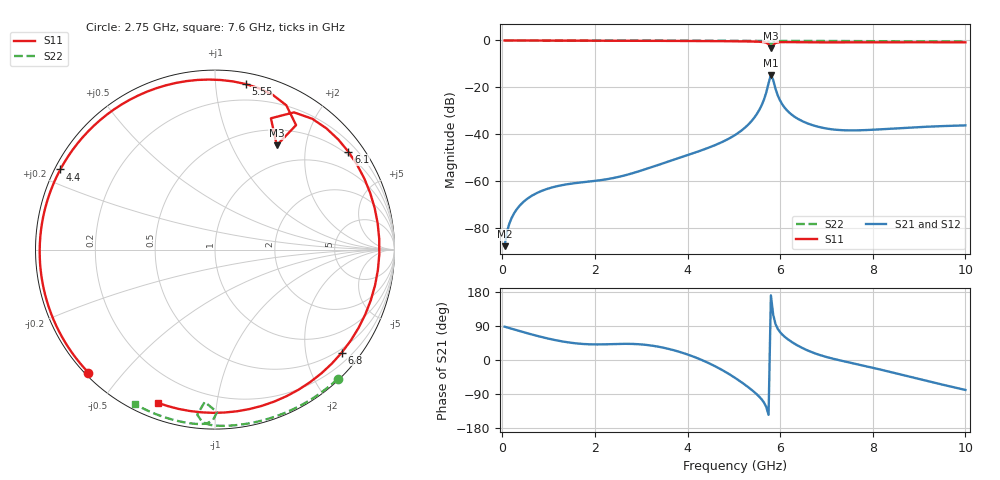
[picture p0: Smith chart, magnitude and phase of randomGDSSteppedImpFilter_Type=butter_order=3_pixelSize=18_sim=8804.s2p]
! freq	dB(S11)	phase(S11)	dB(S12)	phase(S12)
!  dB(S21)	phase(S21)	dB(S22)	phase(S22)
!S-par simulation data
#  GHz  S  DB  R 50
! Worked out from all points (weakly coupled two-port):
!   200 points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, 50 MHz to 10 GHz, reference 50 ohm
!   highest |S21| = -14.75 dB at 5.8 GHz (marker M1); lowest = -87.9 dB at 50 MHz (marker M2)
!   lowest |S11| = -3.4 dB at 5.8 GHz (marker M3), VSWR 5.16, Z = 35.4 + j75.7 ohm
!   |S11| at or under -10 dB: nowhere
!   |S22| runs from -1.4 to 0.0 dB; largest |S21 - S12| = 0
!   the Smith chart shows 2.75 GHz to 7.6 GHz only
!   S11 on the Smith chart (normalised r, x): 2.75 GHz: 0.01, -0.41; 4.4 GHz: 0.02, +0.24; 5.55 GHz: 0.08, +1.20; 6.1 GHz: 0.41, +3.01; 6.8 GHz: 0.41, -2.76; 7.6 GHz: 0.07, -0.69
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0.05  -0.01 -2.9  -87.93 87.9  -87.93 87.9  -0.00 -0.9
0.35  -0.02 -19.7  -71.19 77.3  -71.19 77.3  -0.01 -6.1
0.65  -0.04 -36.2  -66.23 67.0  -66.23 67.0  -0.01 -11.2
1.2  -0.08 -65.1  -62.21 51.1  -62.21 51.1  -0.03 -20.6
1.75  -0.11 -91.9  -60.58 42.2  -60.58 42.2  -0.04 -29.9
2.75  -0.15 -135.8  -57.10 42.6  -57.10 42.6  -0.06 -46.4
3.4  -0.18 -162.8  -52.99 34.4  -52.99 34.4  -0.07 -56.8
4.4  -0.26 152.6  -46.25 -4.9  -46.25 -4.9  -0.10 -72.4
5.05  -0.36 116.5  -40.12 -49.0  -40.12 -49.0  -0.13 -82.3
5.55  -0.55 79.5  -29.68 -97.0  -29.68 -97.0  -0.18 -90.6
5.75  -1.64 56.9  -18.27 -144.7  -18.27 -144.7  -0.68 -96.2
5.8  -3.41 59.4  -14.75 170.4  -14.75 170.4  -1.41 -93.9
5.9  -1.09 60.1  -20.69 94.7  -20.69 94.7  -0.44 -90.7
6.1  -0.71 36.2  -28.80 61.1  -28.80 61.1  -0.21 -95.6
6.4  -0.75 3.7  -33.70 36.7  -33.70 36.7  -0.20 -100.4
6.7  -0.81 -28.6  -36.21 19.9  -36.21 19.9  -0.21 -104.8
6.8  -0.82 -39.1  -36.79 15.4  -36.79 15.4  -0.22 -106.2
7.2  -0.83 -77.8  -38.16 1.6  -38.16 1.6  -0.24 -111.8
7.6  -0.81 -110.3  -38.44 -9.4  -38.44 -9.4  -0.27 -117.2
8.35  -0.78 -156.7  -37.77 -30.7  -37.77 -30.7  -0.33 -127.3
9.1  -0.78 168.2  -36.94 -53.1  -36.94 -53.1  -0.40 -137.3
10  -0.80 132.6  -36.31 -79.1  -36.31 -79.1  -0.51 -149.3
